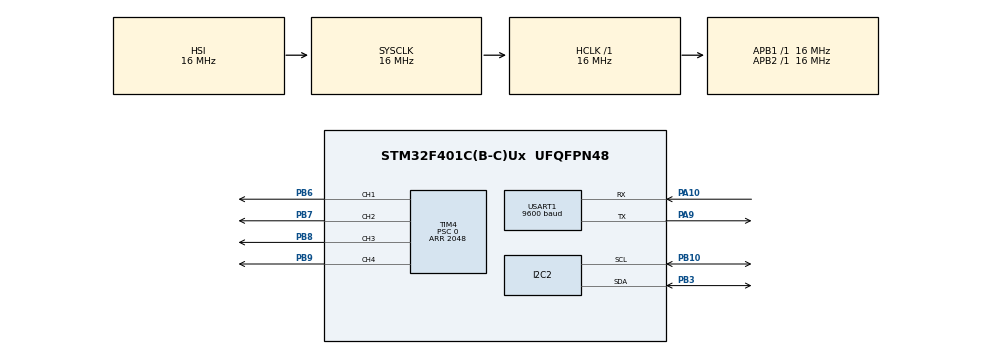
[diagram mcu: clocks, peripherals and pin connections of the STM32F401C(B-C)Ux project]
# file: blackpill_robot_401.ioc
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I2C2.I2C_Mode=I2C_Standard
Mcu.Family=STM32F4
Mcu.Name=STM32F401C(B-C)Ux
Mcu.Package=UFQFPN48
NVIC.PriorityGroup=NVIC_PRIORITYGROUP_4
NVIC.USART1_IRQn=true\:0\:0\:false\:false\:true\:true\:true
PA10.Mode=Asynchronous
PA10.Signal=USART1_RX
PA9.Mode=Asynchronous
PA9.Signal=USART1_TX
PB10.Mode=I2C
PB10.Signal=I2C2_SCL
PB3.Mode=I2C
PB3.Signal=I2C2_SDA
PB6.Signal=S_TIM4_CH1
PB7.Signal=S_TIM4_CH2
PB8.Signal=S_TIM4_CH3
PB9.Signal=S_TIM4_CH4
ProjectManager.HeapSize=0x200
ProjectManager.StackSize=0x400
ProjectManager.TargetToolchain=TrueSTUDIO
RCC.AHBFreq_Value=16000000
RCC.APB1Freq_Value=16000000
RCC.APB2Freq_Value=16000000
RCC.CortexFreq_Value=16000000
RCC.HSE_VALUE=25000000
RCC.HSI_VALUE=16000000
RCC.LSE_VALUE=32768
RCC.SYSCLKFreq_VALUE=16000000
RCC.VCOOutputFreq_Value=192000000
SH.S_TIM4_CH1.0=TIM4_CH1,PWM Generation1 CH1
SH.S_TIM4_CH2.0=TIM4_CH2,PWM Generation2 CH2
SH.S_TIM4_CH3.0=TIM4_CH3,PWM Generation3 CH3
SH.S_TIM4_CH4.0=TIM4_CH4,PWM Generation4 CH4
TIM4.AutoReloadPreload=TIM_AUTORELOAD_PRELOAD_ENABLE
TIM4.Channel-PWM\ Generation1\ CH1=TIM_CHANNEL_1
TIM4.Channel-PWM\ Generation2\ CH2=TIM_CHANNEL_2
TIM4.Channel-PWM\ Generation3\ CH3=TIM_CHANNEL_3
TIM4.Channel-PWM\ Generation4\ CH4=TIM_CHANNEL_4
TIM4.Period=2048
TIM4.Prescaler=0
USART1.BaudRate=9600
USART1.VirtualMode=VM_ASYNC
board=custom

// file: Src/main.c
/* USER CODE BEGIN Header */
/**
  ******************************************************************************
  * @file           : main.c
  * @brief          : Main program body
  ******************************************************************************
  * @attention
  *
  * <h2><center>&copy; Copyright (c) 2020 STMicroelectronics.
  * All rights reserved.</center></h2>
  *
  * This software component is licensed by ST under BSD 3-Clause license,
  * the "License"; You may not use this file except in compliance with the
  * License. You may obtain a copy of the License at:
  *                        opensource.org/licenses/BSD-3-Clause
  *
  ******************************************************************************
  */
/* USER CODE END Header */

#include "main.h"

I2C_HandleTypeDef hi2c2;

TIM_HandleTypeDef htim4;

UART_HandleTypeDef huart1;

void SystemClock_Config(void);
static void MX_GPIO_Init(void);
static void MX_TIM4_Init(void);
static void MX_USART1_UART_Init(void);
static void MX_I2C2_Init(void);

/* USER CODE BEGIN 0 */
#include "string.h"
#include "stdio.h"
#include "ssd1306.h"

#define JOYSTICK_MIDVALUE 2048
#define JOYSTICK_DEADZONE 100

#define TIMEOUT_MS 100	// if no data from Bluetooth within 100 ms, shut off outputs

int joyValue1 = JOYSTICK_MIDVALUE;
int joyValue2 = JOYSTICK_MIDVALUE;

#define MSGLENGTH 11
uint8_t usartBuf[MSGLENGTH+1];

uint32_t lastTick = 0;

int uartSyncMode = 0;	// in syncmode we read one byte at a time and search for \n character

/*
 * Process incoming UART data from Bluetooth module (HM-10 BLE)
 */
void HAL_UART_RxCpltCallback(UART_HandleTypeDef *huart)
{
	if (huart->Instance == USART1)
	{
		if(uartSyncMode)
		{
			// if detecting a \n character we have found a "frame" so start receiving frame by frame
			if(usartBuf[0] == '\n')
			{
				uartSyncMode = 0;
				//HAL_UART_Receive_DMA(&huart1, usartBuf, MSGLENGTH);
				HAL_UART_Receive_IT(&huart1, usartBuf, MSGLENGTH);
			}

			HAL_UART_Receive_IT(&huart1, usartBuf, 1);
			return;
		}

		if(usartBuf[MSGLENGTH-1] == '\n')	// process data
		{
			int val1, val2;

			usartBuf[MSGLENGTH] = 0;

			if(sscanf((char*)usartBuf, "%x %x", &val1, &val2) == 2)
			{
				joyValue1 = val1 >> 4;
				joyValue2 = val2 >> 4;

				lastTick = HAL_GetTick();
			}

			/* Receive MSGLENGTH new bytes */
			//HAL_UART_Receive_DMA(&huart1, usartBuf, MSGLENGTH);
			HAL_UART_Receive_IT(&huart1, usartBuf, MSGLENGTH);
		}
		else	// end of line char was not received, go to sync mode
		{
			uartSyncMode = 1;

			/* Receive one byte and try to synchronize */
			HAL_UART_Receive_IT(&huart1, usartBuf, 1);
		}
	}
}

/*
 * Adjust the 4 PWM outputs that controls the motor driver
 */
void MotorPWMControl(uint16_t val1, uint16_t val2)
{
	if(val1 > (JOYSTICK_MIDVALUE + JOYSTICK_DEADZONE))
	{
		uint16_t speed = val1 - JOYSTICK_MIDVALUE;

		__HAL_TIM_SET_COMPARE(&htim4, TIM_CHANNEL_1, 0);
		__HAL_TIM_SET_COMPARE(&htim4, TIM_CHANNEL_2, speed);
	}
	else
		if(val1 < (JOYSTICK_MIDVALUE - JOYSTICK_DEADZONE))
		{
			int speed = JOYSTICK_MIDVALUE - val1;

			__HAL_TIM_SET_COMPARE(&htim4, TIM_CHANNEL_1, speed);
			__HAL_TIM_SET_COMPARE(&htim4, TIM_CHANNEL_2, 0);

		}
		else
		{
			__HAL_TIM_SET_COMPARE(&htim4, TIM_CHANNEL_1, 0);
			__HAL_TIM_SET_COMPARE(&htim4, TIM_CHANNEL_2, 0);
		}

	if(val2 > (JOYSTICK_MIDVALUE + JOYSTICK_DEADZONE))
	{
		uint16_t speed = val2 - JOYSTICK_MIDVALUE;

		__HAL_TIM_SET_COMPARE(&htim4, TIM_CHANNEL_3, 0);
		__HAL_TIM_SET_COMPARE(&htim4, TIM_CHANNEL_4, speed);
	}
	else
		if(val2 < (JOYSTICK_MIDVALUE - JOYSTICK_DEADZONE))
		{
			uint16_t speed = JOYSTICK_MIDVALUE - val2;

			__HAL_TIM_SET_COMPARE(&htim4, TIM_CHANNEL_3, speed);
			__HAL_TIM_SET_COMPARE(&htim4, TIM_CHANNEL_4, 0);
		}
		else
		{
			__HAL_TIM_SET_COMPARE(&htim4, TIM_CHANNEL_3, 0);
			__HAL_TIM_SET_COMPARE(&htim4, TIM_CHANNEL_4, 0);
		}

}
/* USER CODE END 0 */

int main(void)
{

  /* MCU Configuration--------------------------------------------------------*/

  /* Reset of all peripherals, Initializes the Flash interface and the Systick. */
  HAL_Init();

  /* Configure the system clock */
  SystemClock_Config();

  /* Initialize all configured peripherals */
  MX_GPIO_Init();
  MX_TIM4_Init();
  MX_USART1_UART_Init();
  MX_I2C2_Init();
  /* USER CODE BEGIN 2 */
  uartSyncMode = 1;	// start by receiving byte by byte until we get a end of line character
  HAL_UART_Receive_IT(&huart1, usartBuf, 1);

  HAL_TIM_PWM_Start(&htim4, TIM_CHANNEL_1);
  HAL_TIM_PWM_Start(&htim4, TIM_CHANNEL_2);
  HAL_TIM_PWM_Start(&htim4, TIM_CHANNEL_3);
  HAL_TIM_PWM_Start(&htim4, TIM_CHANNEL_4);

  ssd1306_Init();
  ssd1306_WriteString("David", Font_16x26, White);
  ssd1306_UpdateScreen();

  /* USER CODE END 2 */

  /* Infinite loop */
  while (1)
  {

    /* USER CODE BEGIN 3 */

	  /*
	  if((HAL_GetTick() - lastTick) > TIMEOUT_MS)
	  {
		  joyValue1 = JOYSTICK_MIDVALUE;
		  joyValue2 = JOYSTICK_MIDVALUE;
	  }

	  int speeddiff = (2048 - joyValue1);

	  int val1, val2;

	  val1 = joyValue2 + speeddiff;
	  val2 = 4096 - (joyValue2 - speeddiff);

	  if(val1 > 4095)
		  val1 = 4095;

	  if(val1 < 0)
		  val1 = 0;

	  if(val2 > 4095)
		  val2 = 4095;

	  if(val2 < 0)
		  val2 = 0;
		  */

	  int val1, val2;

	  val1 = (JOYSTICK_MIDVALUE- joyValue2) + JOYSTICK_MIDVALUE;
	  val2 = ((joyValue1 - JOYSTICK_MIDVALUE) * 0.8) + JOYSTICK_MIDVALUE;

	  MotorPWMControl(val1, val2);

	  HAL_Delay(1);
  }
  /* USER CODE END 3 */
}

void SystemClock_Config(void)
{
  RCC_OscInitTypeDef RCC_OscInitStruct = {0};
  RCC_ClkInitTypeDef RCC_ClkInitStruct = {0};

  /** Configure the main internal regulator output voltage
  */
  __HAL_RCC_PWR_CLK_ENABLE();
  __HAL_PWR_VOLTAGESCALING_CONFIG(PWR_REGULATOR_VOLTAGE_SCALE2);
  /** Initializes the CPU, AHB and APB busses clocks
  */
  RCC_OscInitStruct.OscillatorType = RCC_OSCILLATORTYPE_HSI;
  RCC_OscInitStruct.HSIState = RCC_HSI_ON;
  RCC_OscInitStruct.HSICalibrationValue = RCC_HSICALIBRATION_DEFAULT;
  RCC_OscInitStruct.PLL.PLLState = RCC_PLL_NONE;
  if (HAL_RCC_OscConfig(&RCC_OscInitStruct) != HAL_OK)
  {
    Error_Handler();
  }
  /** Initializes the CPU, AHB and APB busses clocks
  */
  RCC_ClkInitStruct.ClockType = RCC_CLOCKTYPE_HCLK|RCC_CLOCKTYPE_SYSCLK
                              |RCC_CLOCKTYPE_PCLK1|RCC_CLOCKTYPE_PCLK2;
  RCC_ClkInitStruct.SYSCLKSource = RCC_SYSCLKSOURCE_HSI;
  RCC_ClkInitStruct.AHBCLKDivider = RCC_SYSCLK_DIV1;
  RCC_ClkInitStruct.APB1CLKDivider = RCC_HCLK_DIV1;
  RCC_ClkInitStruct.APB2CLKDivider = RCC_HCLK_DIV1;

  if (HAL_RCC_ClockConfig(&RCC_ClkInitStruct, FLASH_LATENCY_0) != HAL_OK)
  {
    Error_Handler();
  }
}

static void MX_I2C2_Init(void)
{

  hi2c2.Instance = I2C2;
  hi2c2.Init.ClockSpeed = 100000;
  hi2c2.Init.DutyCycle = I2C_DUTYCYCLE_2;
  hi2c2.Init.OwnAddress1 = 0;
  hi2c2.Init.AddressingMode = I2C_ADDRESSINGMODE_7BIT;
  hi2c2.Init.DualAddressMode = I2C_DUALADDRESS_DISABLE;
  hi2c2.Init.OwnAddress2 = 0;
  hi2c2.Init.GeneralCallMode = I2C_GENERALCALL_DISABLE;
  hi2c2.Init.NoStretchMode = I2C_NOSTRETCH_DISABLE;
  if (HAL_I2C_Init(&hi2c2) != HAL_OK)
  {
    Error_Handler();
  }

}

static void MX_TIM4_Init(void)
{

  TIM_MasterConfigTypeDef sMasterConfig = {0};
  TIM_OC_InitTypeDef sConfigOC = {0};

  htim4.Instance = TIM4;
  htim4.Init.Prescaler = 0;
  htim4.Init.CounterMode = TIM_COUNTERMODE_UP;
  htim4.Init.Period = 2048;
  htim4.Init.ClockDivision = TIM_CLOCKDIVISION_DIV1;
  htim4.Init.AutoReloadPreload = TIM_AUTORELOAD_PRELOAD_ENABLE;
  if (HAL_TIM_PWM_Init(&htim4) != HAL_OK)
  {
    Error_Handler();
  }
  sMasterConfig.MasterOutputTrigger = TIM_TRGO_RESET;
  sMasterConfig.MasterSlaveMode = TIM_MASTERSLAVEMODE_DISABLE;
  if (HAL_TIMEx_MasterConfigSynchronization(&htim4, &sMasterConfig) != HAL_OK)
  {
    Error_Handler();
  }
  sConfigOC.OCMode = TIM_OCMODE_PWM1;
  sConfigOC.Pulse = 0;
  sConfigOC.OCPolarity = TIM_OCPOLARITY_HIGH;
  sConfigOC.OCFastMode = TIM_OCFAST_DISABLE;
  if (HAL_TIM_PWM_ConfigChannel(&htim4, &sConfigOC, TIM_CHANNEL_1) != HAL_OK)
  {
    Error_Handler();
  }
  if (HAL_TIM_PWM_ConfigChannel(&htim4, &sConfigOC, TIM_CHANNEL_2) != HAL_OK)
  {
    Error_Handler();
  }
  if (HAL_TIM_PWM_ConfigChannel(&htim4, &sConfigOC, TIM_CHANNEL_3) != HAL_OK)
  {
    Error_Handler();
  }
  if (HAL_TIM_PWM_ConfigChannel(&htim4, &sConfigOC, TIM_CHANNEL_4) != HAL_OK)
  {
    Error_Handler();
  }
  HAL_TIM_MspPostInit(&htim4);

}

static void MX_USART1_UART_Init(void)
{

  huart1.Instance = USART1;
  huart1.Init.BaudRate = 9600;
  huart1.Init.WordLength = UART_WORDLENGTH_8B;
  huart1.Init.StopBits = UART_STOPBITS_1;
  huart1.Init.Parity = UART_PARITY_NONE;
  huart1.Init.Mode = UART_MODE_TX_RX;
  huart1.Init.HwFlowCtl = UART_HWCONTROL_NONE;
  huart1.Init.OverSampling = UART_OVERSAMPLING_16;
  if (HAL_UART_Init(&huart1) != HAL_OK)
  {
    Error_Handler();
  }

}

static void MX_GPIO_Init(void)
{

  /* GPIO Ports Clock Enable */
  __HAL_RCC_GPIOB_CLK_ENABLE();
  __HAL_RCC_GPIOA_CLK_ENABLE();

}

void Error_Handler(void)
{
}

/************************ (C) COPYRIGHT STMicroelectronics *****END OF FILE****/
